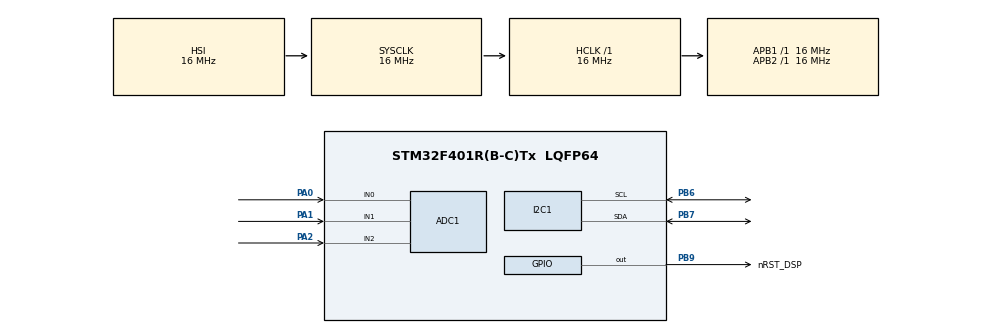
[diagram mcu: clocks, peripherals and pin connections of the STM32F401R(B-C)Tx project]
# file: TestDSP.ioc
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ADC1.Channel-0\#ChannelRegularConversion=ADC_CHANNEL_0
ADC1.Channel-1\#ChannelRegularConversion=ADC_CHANNEL_1
ADC1.Channel-2\#ChannelRegularConversion=ADC_CHANNEL_2
ADC1.ClockPrescaler=ADC_CLOCK_SYNC_PCLK_DIV8
ADC1.ContinuousConvMode=ENABLE
ADC1.DMAContinuousRequests=ENABLE
ADC1.EOCSelection=ADC_EOC_SEQ_CONV
ADC1.NbrOfConversion=3
ADC1.NbrOfConversionFlag=1
ADC1.Rank-0\#ChannelRegularConversion=1
ADC1.Rank-1\#ChannelRegularConversion=2
ADC1.Rank-2\#ChannelRegularConversion=3
ADC1.SamplingTime-0\#ChannelRegularConversion=ADC_SAMPLETIME_112CYCLES
ADC1.SamplingTime-1\#ChannelRegularConversion=ADC_SAMPLETIME_112CYCLES
ADC1.SamplingTime-2\#ChannelRegularConversion=ADC_SAMPLETIME_112CYCLES
ADC1.ScanConvMode=ENABLE
ADC1.master=1
Dma.ADC1.0.Direction=DMA_PERIPH_TO_MEMORY
Dma.ADC1.0.FIFOMode=DMA_FIFOMODE_DISABLE
Dma.ADC1.0.Instance=DMA2_Stream0
Dma.ADC1.0.MemDataAlignment=DMA_MDATAALIGN_WORD
Dma.ADC1.0.MemInc=DMA_MINC_ENABLE
Dma.ADC1.0.Mode=DMA_CIRCULAR
Dma.ADC1.0.PeriphDataAlignment=DMA_PDATAALIGN_WORD
Dma.ADC1.0.PeriphInc=DMA_PINC_DISABLE
Dma.ADC1.0.Priority=DMA_PRIORITY_LOW
Dma.Request0=ADC1
I2C1.I2C_Mode=I2C_Fast
Mcu.Family=STM32F4
Mcu.Name=STM32F401R(B-C)Tx
Mcu.Package=LQFP64
NVIC.DMA2_Stream0_IRQn=true\:0\:0\:false\:false\:true\:false\:true
NVIC.PriorityGroup=NVIC_PRIORITYGROUP_4
PA0-WKUP.Signal=ADCx_IN0
PA1.Signal=ADCx_IN1
PA13.Mode=Serial_Wire
PA13.Signal=SYS_JTMS-SWDIO
PA14.Mode=Serial_Wire
PA14.Signal=SYS_JTCK-SWCLK
PA2.Signal=ADCx_IN2
PB6.Mode=I2C
PB6.Signal=I2C1_SCL
PB7.Mode=I2C
PB7.Signal=I2C1_SDA
PB9.GPIO_Label=nRST_DSP
PB9.GPIO_Speed=GPIO_SPEED_FREQ_HIGH
PB9.Signal=GPIO_Output
ProjectManager.HeapSize=0x200
ProjectManager.StackSize=0x400
ProjectManager.TargetToolchain=STM32CubeIDE
RCC.AHBFreq_Value=16000000
RCC.APB1Freq_Value=16000000
RCC.APB2Freq_Value=16000000
RCC.CortexFreq_Value=16000000
RCC.HSE_VALUE=25000000
RCC.HSI_VALUE=16000000
RCC.LSE_VALUE=32768
RCC.SYSCLKFreq_VALUE=16000000
RCC.VCOOutputFreq_Value=192000000
SH.ADCx_IN0.0=ADC1_IN0,IN0
SH.ADCx_IN1.0=ADC1_IN1,IN1
SH.ADCx_IN2.0=ADC1_IN2,IN2
board=custom

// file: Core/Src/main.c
/* USER CODE BEGIN Header */
/**
  ******************************************************************************
  * @file           : main.c
  * @brief          : Main program body
  ******************************************************************************
  * @attention
  *
  * <h2><center>&copy; Copyright (c) 2022 STMicroelectronics.
  * All rights reserved.</center></h2>
  *
  * This software component is licensed by ST under BSD 3-Clause license,
  * the "License"; You may not use this file except in compliance with the
  * License. You may obtain a copy of the License at:
  *                        opensource.org/licenses/BSD-3-Clause
  *
  ******************************************************************************
  */
/* USER CODE END Header */
#include "main.h"

/* USER CODE BEGIN Includes */
#include "DSP/SigmaStudioFW.h"
#include "DSP/TestDSP_IC_1.h"
#include "DSP/TestDSP_IC_1_PARAM.h"
/* USER CODE END Includes */

/* USER CODE BEGIN PD */
void HAL_ADC_ConvCpltCallback(ADC_HandleTypeDef* hadc);
/* USER CODE END PD */

ADC_HandleTypeDef hadc1;
DMA_HandleTypeDef hdma_adc1;

I2C_HandleTypeDef hi2c1;

/* USER CODE BEGIN PV */
HAL_StatusTypeDef stat;

uint32_t value[3]; // To store ADC values
uint16_t pote[3];
uint16_t flag[3]; // Flag for different pot
ADI_REG_TYPE aux[4];
/* USER CODE END PV */

void SystemClock_Config(void);
static void MX_GPIO_Init(void);
static void MX_I2C1_Init(void);
static void MX_DMA_Init(void);
static void MX_ADC1_Init(void);

int main(void)
{
  /* USER CODE BEGIN 1 */
	uint16_t k = 0;
	uint16_t BandAddress[3];

	BandAddress[0] = MOD_BAND128_SEL_DCINPALG3_ADDR;
	BandAddress[1] = MOD_BAND1K_SEL_DCINPALG1_ADDR;
	BandAddress[2] = MOD_BAND8K_SEL_DCINPALG5_ADDR;
  /* USER CODE END 1 */

  /* MCU Configuration--------------------------------------------------------*/

  /* Reset of all peripherals, Initializes the Flash interface and the Systick. */
  HAL_Init();

  /* Configure the system clock */
  SystemClock_Config();

  /* Initialize all configured peripherals */
  MX_GPIO_Init();
  MX_I2C1_Init();
  MX_DMA_Init();
  MX_ADC1_Init();
  /* USER CODE BEGIN 2 */

  HAL_GPIO_WritePin(nRST_DSP_GPIO_Port, nRST_DSP_Pin, RESET);
  HAL_Delay(1000);

  HAL_ADC_Start_DMA(&hadc1, value, 3);

  HAL_GPIO_WritePin(nRST_DSP_GPIO_Port, nRST_DSP_Pin, SET);
  HAL_Delay(1000);

  default_download_IC_1();

  aux[0] = 0x00;
  aux[1] = 0x00;
  aux[2] = 0x00;

  for(k=0; k<3; k++)
  {
	  flag[k] = 0;
	  pote[k] = 14;
  }

  /* USER CODE END 2 */

  /* Infinite loop */
  while (1)
  {

    /* USER CODE BEGIN 3 */
	  for(k=0; k<3; k++)
	  {
		  if(flag[k] == 1)
		  {
			  flag[k] = 0;
			  aux[3] = 29 - pote[k];
			  SIGMA_WRITE_REGISTER_BLOCK(DEVICE_ADDR_IC_1, BandAddress[k], 4, aux);
		  }
	  }
  }
  /* USER CODE END 3 */
}

void SystemClock_Config(void)
{
  RCC_OscInitTypeDef RCC_OscInitStruct = {0};
  RCC_ClkInitTypeDef RCC_ClkInitStruct = {0};

  /** Configure the main internal regulator output voltage
  */
  __HAL_RCC_PWR_CLK_ENABLE();
  __HAL_PWR_VOLTAGESCALING_CONFIG(PWR_REGULATOR_VOLTAGE_SCALE2);
  /** Initializes the RCC Oscillators according to the specified parameters
  * in the RCC_OscInitTypeDef structure.
  */
  RCC_OscInitStruct.OscillatorType = RCC_OSCILLATORTYPE_HSI;
  RCC_OscInitStruct.HSIState = RCC_HSI_ON;
  RCC_OscInitStruct.HSICalibrationValue = RCC_HSICALIBRATION_DEFAULT;
  RCC_OscInitStruct.PLL.PLLState = RCC_PLL_NONE;
  if (HAL_RCC_OscConfig(&RCC_OscInitStruct) != HAL_OK)
  {
    Error_Handler();
  }
  /** Initializes the CPU, AHB and APB buses clocks
  */
  RCC_ClkInitStruct.ClockType = RCC_CLOCKTYPE_HCLK|RCC_CLOCKTYPE_SYSCLK
                              |RCC_CLOCKTYPE_PCLK1|RCC_CLOCKTYPE_PCLK2;
  RCC_ClkInitStruct.SYSCLKSource = RCC_SYSCLKSOURCE_HSI;
  RCC_ClkInitStruct.AHBCLKDivider = RCC_SYSCLK_DIV1;
  RCC_ClkInitStruct.APB1CLKDivider = RCC_HCLK_DIV1;
  RCC_ClkInitStruct.APB2CLKDivider = RCC_HCLK_DIV1;

  if (HAL_RCC_ClockConfig(&RCC_ClkInitStruct, FLASH_LATENCY_0) != HAL_OK)
  {
    Error_Handler();
  }
}

static void MX_ADC1_Init(void)
{

  ADC_ChannelConfTypeDef sConfig = {0};

  /** Configure the global features of the ADC (Clock, Resolution, Data Alignment and number of conversion)
  */
  hadc1.Instance = ADC1;
  hadc1.Init.ClockPrescaler = ADC_CLOCK_SYNC_PCLK_DIV8;
  hadc1.Init.Resolution = ADC_RESOLUTION_12B;
  hadc1.Init.ScanConvMode = ENABLE;
  hadc1.Init.ContinuousConvMode = ENABLE;
  hadc1.Init.DiscontinuousConvMode = DISABLE;
  hadc1.Init.ExternalTrigConvEdge = ADC_EXTERNALTRIGCONVEDGE_NONE;
  hadc1.Init.ExternalTrigConv = ADC_SOFTWARE_START;
  hadc1.Init.DataAlign = ADC_DATAALIGN_RIGHT;
  hadc1.Init.NbrOfConversion = 3;
  hadc1.Init.DMAContinuousRequests = ENABLE;
  hadc1.Init.EOCSelection = ADC_EOC_SEQ_CONV;
  if (HAL_ADC_Init(&hadc1) != HAL_OK)
  {
    Error_Handler();
  }
  /** Configure for the selected ADC regular channel its corresponding rank in the sequencer and its sample time.
  */
  sConfig.Channel = ADC_CHANNEL_0;
  sConfig.Rank = 1;
  sConfig.SamplingTime = ADC_SAMPLETIME_112CYCLES;
  if (HAL_ADC_ConfigChannel(&hadc1, &sConfig) != HAL_OK)
  {
    Error_Handler();
  }
  /** Configure for the selected ADC regular channel its corresponding rank in the sequencer and its sample time.
  */
  sConfig.Channel = ADC_CHANNEL_1;
  sConfig.Rank = 2;
  if (HAL_ADC_ConfigChannel(&hadc1, &sConfig) != HAL_OK)
  {
    Error_Handler();
  }
  /** Configure for the selected ADC regular channel its corresponding rank in the sequencer and its sample time.
  */
  sConfig.Channel = ADC_CHANNEL_2;
  sConfig.Rank = 3;
  if (HAL_ADC_ConfigChannel(&hadc1, &sConfig) != HAL_OK)
  {
    Error_Handler();
  }

}

static void MX_I2C1_Init(void)
{

  hi2c1.Instance = I2C1;
  hi2c1.Init.ClockSpeed = 400000;
  hi2c1.Init.DutyCycle = I2C_DUTYCYCLE_2;
  hi2c1.Init.OwnAddress1 = 0;
  hi2c1.Init.AddressingMode = I2C_ADDRESSINGMODE_7BIT;
  hi2c1.Init.DualAddressMode = I2C_DUALADDRESS_DISABLE;
  hi2c1.Init.OwnAddress2 = 0;
  hi2c1.Init.GeneralCallMode = I2C_GENERALCALL_DISABLE;
  hi2c1.Init.NoStretchMode = I2C_NOSTRETCH_DISABLE;
  if (HAL_I2C_Init(&hi2c1) != HAL_OK)
  {
    Error_Handler();
  }

}

static void MX_DMA_Init(void)
{

  /* DMA controller clock enable */
  __HAL_RCC_DMA2_CLK_ENABLE();

  /* DMA interrupt init */
  /* DMA2_Stream0_IRQn interrupt configuration */
  HAL_NVIC_SetPriority(DMA2_Stream0_IRQn, 0, 0);
  HAL_NVIC_EnableIRQ(DMA2_Stream0_IRQn);

}

static void MX_GPIO_Init(void)
{
  GPIO_InitTypeDef GPIO_InitStruct = {0};

  /* GPIO Ports Clock Enable */
  __HAL_RCC_GPIOA_CLK_ENABLE();
  __HAL_RCC_GPIOB_CLK_ENABLE();

  /*Configure GPIO pin Output Level */
  HAL_GPIO_WritePin(nRST_DSP_GPIO_Port, nRST_DSP_Pin, GPIO_PIN_RESET);

  /*Configure GPIO pin : nRST_DSP_Pin */
  GPIO_InitStruct.Pin = nRST_DSP_Pin;
  GPIO_InitStruct.Mode = GPIO_MODE_OUTPUT_PP;
  GPIO_InitStruct.Pull = GPIO_NOPULL;
  GPIO_InitStruct.Speed = GPIO_SPEED_FREQ_HIGH;
  HAL_GPIO_Init(nRST_DSP_GPIO_Port, &GPIO_InitStruct);

}

/* USER CODE BEGIN 4 */
void SIGMA_WRITE_REGISTER_BLOCK(uint16_t devAddress, uint16_t address, uint16_t length, uint8_t *pData)
{
	stat = HAL_I2C_Mem_Write(&hi2c1, devAddress, address, 2, pData, length, 1000);
}

void HAL_ADC_ConvCpltCallback(ADC_HandleTypeDef* hadc)
{
	uint16_t i = 0;

	for(i=0; i<30; i++)
	{
		if((value[0] > (0+136*i)) && (value[0] < (100+136*i)))
		{
			if(pote[0] != i)
			{
				pote[0] = i;
				flag[0] = 1;
			}
		}
		if((value[1] > (0+136*i)) && (value[1] < (100+136*i)))
		{
			if(pote[1] != i)
			{
				pote[1] = i;
				flag[1] = 1;
			}
		}
		if((value[2] > (0+136*i)) && (value[2] < (100+136*i)))
		{
			if(pote[2] != i)
			{
				pote[2] = i;
				flag[2] = 1;
			}
		}
	}
}
/* USER CODE END 4 */

void Error_Handler(void)
{
  __disable_irq();
  while (1)
  {
  }
}

/************************ (C) COPYRIGHT STMicroelectronics *****END OF FILE****/
